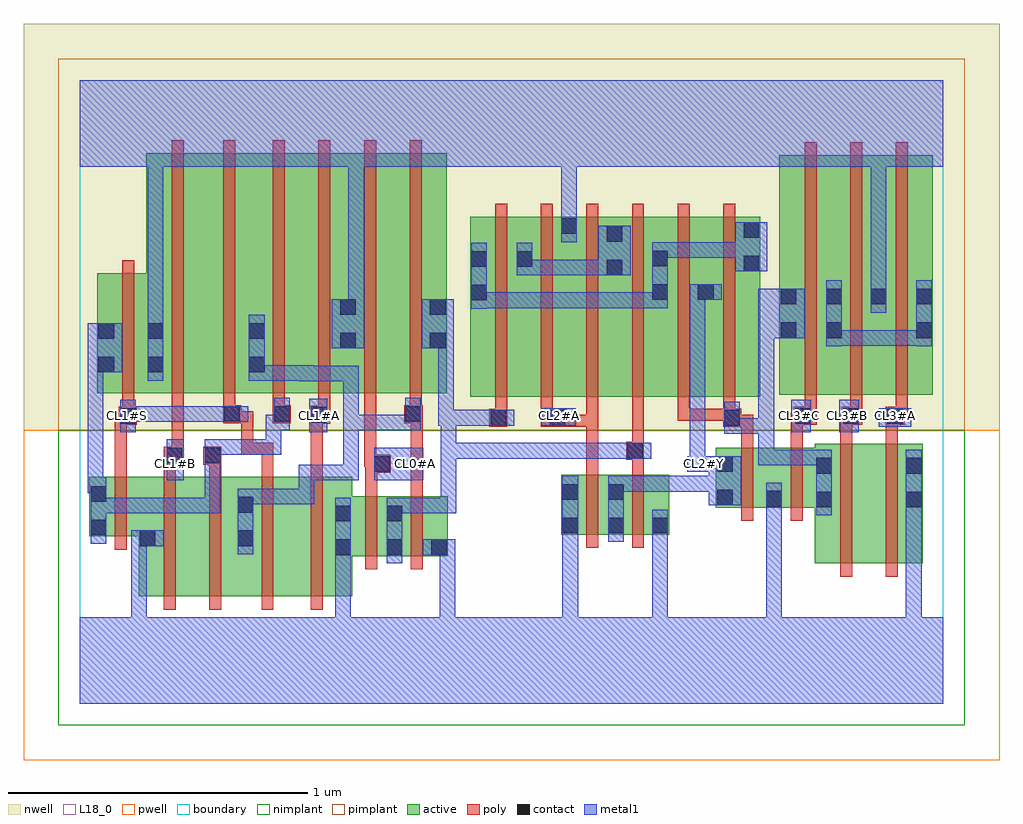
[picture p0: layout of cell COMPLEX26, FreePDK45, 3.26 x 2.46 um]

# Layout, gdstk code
import gdstk
lib = gdstk.Library(unit=1e-6, precision=1e-09)
def R(c, l, rs):  # rectangles x0, y0, x1, y1
    for r in rs: c.add(gdstk.rectangle(r[:2], r[2:], *l))
def A(c, l, x, y, w, h, nx, ny, dx, dy):  # array of equal rectangles
    R(c, l, [(x+i*dx, y+j*dy, x+i*dx+w, y+j*dy+h) for i in range(nx) for j in range(ny)])
active = (1, 0)
pwell = (2, 0)
nwell = (3, 0)
nimplant = (4, 0)
pimplant = (5, 0)
poly = (9, 0)
contact = (10, 0)
metal1 = (11, 0)
L18_0 = (18, 0)
boundary = (235, 0)

complex26 = lib.new_cell('COMPLEX26')
A(complex26, active, 1.602, 1.024, 0.212, 0.6, 4, 1, 0.152, 0)
R(complex26, active, [(0.196,0.358,0.256,0.758), (0.196,0.358,0.376,0.758), (0.376,0.358,0.582,0.758), (0.522,0.358,0.714,0.758), (0.714,0.358,0.908,0.758), (0.848,0.358,0.908,0.664), (0.522,0.468,0.582,0.694), (2.452,0.468,2.632,0.868), (2.452,0.468,2.512,0.854), (2.632,0.468,2.812,0.868), (2.752,0.468,2.812,0.868), (0.848,0.492,1.08,0.692), (1.02,0.492,1.228,0.692), (1.02,0.492,1.08,0.664), (1.168,0.492,1.228,0.692), (0.032,0.558,0.092,0.758), (0.032,0.558,0.256,0.758), (1.606,0.564,1.666,0.764), (1.606,0.564,1.818,0.764), (1.758,0.564,1.818,0.764), (1.758,0.564,1.966,0.764), (1.906,0.564,1.966,0.764), (2.122,0.654,2.182,0.854), (2.122,0.654,2.346,0.854), (2.286,0.654,2.512,0.854), (2.286,0.654,2.346,0.854), (1.302,1.024,1.514,1.624), (1.302,1.024,1.362,1.556), (1.454,1.024,1.662,1.624), (1.906,1.024,1.966,1.556), (2.058,1.024,2.118,1.62), (2.21,1.024,2.27,1.61), (2.334,1.03,2.394,1.724), (2.334,1.03,2.546,1.83), (2.486,1.03,2.546,1.724), (2.486,1.03,2.694,1.83), (2.634,1.03,2.846,1.83), (2.786,1.03,2.846,1.724), (0.058,1.036,0.118,1.356), (0.058,1.036,0.282,1.436), (0.222,1.036,0.402,1.836), (0.222,1.036,0.282,1.356), (0.402,1.036,0.62,1.836), (0.56,1.036,0.62,1.724), (0.56,1.036,0.74,1.836), (0.74,1.036,0.924,1.836), (0.864,1.036,1.044,1.836), (0.864,1.036,0.924,1.756), (1.044,1.036,1.224,1.836), (1.164,1.036,1.224,1.724), (2.634,1.206,2.694,1.756), (1.454,1.406,1.514,1.556), (1.602,1.406,1.662,1.624), (1.754,1.406,1.814,1.624)])
R(complex26, pwell, [(-0.188,-0.188,3.068,0.912)])
R(complex26, nwell, [(-0.188,0.912,3.068,2.268)])
R(complex26, nimplant, [(-0.072,-0.072,2.952,0.912)])
R(complex26, pimplant, [(-0.072,0.912,2.952,2.152)])
A(complex26, poly, 2.418, 0.95, 0.04, 0.076, 3, 1, 0.152, 0)
A(complex26, poly, 1.386, 0.98, 0.04, 0.688, 6, 1, 0.152, 0)
A(complex26, poly, 2.418, 0.986, 0.04, 0.888, 3, 1, 0.152, 0)
A(complex26, poly, 0.644, 0.992, 0.04, 0.888, 4, 1, 0.152, 0)
R(complex26, poly, [(0.28,0.314,0.32,0.802), (0.432,0.314,0.472,0.802), (0.606,0.314,0.646,0.802), (0.77,0.314,0.81,0.802), (2.536,0.424,2.576,0.912), (2.688,0.424,2.728,0.912), (0.952,0.448,0.992,0.736), (1.104,0.448,1.144,0.736), (0.116,0.514,0.156,0.802), (1.69,0.52,1.73,0.808), (1.842,0.52,1.882,0.808), (2.206,0.61,2.246,0.898), (2.372,0.61,2.412,0.898), (0.952,0.696,0.992,0.81), (1.104,0.696,1.144,0.976), (0.116,0.762,0.156,0.97), (0.28,0.762,0.32,0.838), (0.432,0.762,0.472,0.838), (0.606,0.762,0.646,0.87), (0.77,0.762,0.81,0.974), (1.69,0.768,1.73,0.964), (1.842,0.768,1.882,0.854), (0.952,0.77,1.038,0.83), (0.948,0.79,0.988,1.032), (0.948,0.79,0.992,0.83), (0.952,0.79,0.992,0.83), (0.28,0.798,0.346,0.858), (0.412,0.798,0.472,0.858), (1.822,0.814,1.882,0.874), (0.306,0.818,0.346,0.858), (0.306,0.818,0.346,0.858), (0.306,0.818,0.346,1.032), (0.538,0.83,0.578,0.87), (0.538,0.83,0.646,0.87), (0.538,0.83,0.578,0.976), (0.606,0.83,0.646,0.87), (1.842,0.834,1.882,0.874), (1.842,0.834,1.882,0.874), (1.842,0.834,1.882,1.02), (2.206,0.858,2.246,0.964), (2.372,0.858,2.412,0.97), (2.536,0.872,2.576,0.97), (2.688,0.872,2.728,0.97), (1.366,0.924,1.426,0.984), (1.538,0.924,1.624,0.984), (1.584,0.924,1.624,0.964), (1.584,0.924,1.624,0.964), (1.584,0.924,1.73,0.964), (1.69,0.924,1.73,0.964), (1.69,0.924,1.73,0.964), (1.69,0.924,1.73,0.964), (1.69,0.924,1.73,1.02), (2.146,0.924,2.206,0.984), (2.166,0.924,2.206,0.964), (2.166,0.924,2.246,0.964), (0.116,0.93,0.17,0.97), (0.13,0.93,0.17,0.97), (0.13,0.93,0.19,0.99), (2.372,0.93,2.422,0.97), (2.382,0.93,2.422,0.97), (2.382,0.93,2.458,0.99), (2.536,0.93,2.582,0.97), (2.542,0.93,2.582,0.97), (2.542,0.93,2.61,0.99), (2.688,0.93,2.75,0.99), (0.77,0.934,0.81,0.974), (0.77,0.934,0.81,0.974), (0.77,0.934,0.836,0.994), (0.478,0.936,0.538,0.996), (0.498,0.936,0.578,0.976), (0.538,0.936,0.578,0.976), (0.644,0.936,0.704,0.996), (1.082,0.936,1.144,0.996), (1.104,0.936,1.144,0.976), (1.104,0.936,1.144,0.976), (1.386,0.944,1.426,1.02), (1.538,0.944,1.578,1.02), (1.994,0.944,2.034,1.02), (1.994,0.944,2.034,0.984), (1.994,0.944,2.186,0.984), (2.146,0.944,2.186,1.02), (2.146,0.944,2.186,0.984), (2.146,0.944,2.186,0.984), (0.142,0.95,0.182,1.032), (2.71,0.95,2.75,0.99), (2.71,0.95,2.762,0.99), (0.796,0.954,0.836,1.032), (0.478,0.956,0.518,1.032), (0.644,0.956,0.684,1.032), (1.1,0.956,1.14,1.032), (0.142,0.992,0.182,1.48), (0.306,0.992,0.346,1.88), (0.478,0.992,0.518,1.88)])
R(complex26, contact, [(0.852,0.496,0.904,0.548), (1.024,0.496,1.076,0.548), (1.172,0.496,1.224,0.548), (0.2,0.526,0.252,0.578), (0.526,0.526,0.578,0.578), (0.036,0.562,0.088,0.614), (1.61,0.568,1.662,0.62), (1.762,0.568,1.814,0.62), (1.91,0.568,1.962,0.62), (0.852,0.608,0.904,0.66), (1.024,0.608,1.076,0.66), (0.526,0.638,0.578,0.69), (2.456,0.656,2.508,0.708), (2.756,0.656,2.808,0.708), (2.29,0.658,2.342,0.71), (2.126,0.662,2.178,0.714), (0.036,0.674,0.088,0.726), (1.61,0.68,1.662,0.732), (1.762,0.68,1.814,0.732), (2.456,0.768,2.508,0.82), (2.756,0.768,2.808,0.82), (0.982,0.774,1.034,0.826), (2.126,0.774,2.178,0.826), (0.29,0.802,0.342,0.854), (0.416,0.802,0.468,0.854), (1.826,0.818,1.878,0.87), (1.37,0.928,1.422,0.98), (1.568,0.928,1.62,0.98), (2.15,0.928,2.202,0.98), (0.134,0.934,0.186,0.986), (2.386,0.934,2.438,0.986), (2.546,0.934,2.598,0.986), (2.694,0.934,2.746,0.986), (0.774,0.938,0.826,0.99), (0.482,0.94,0.534,0.992), (0.648,0.94,0.7,0.992), (1.086,0.94,1.138,0.992), (0.062,1.106,0.114,1.158), (0.226,1.106,0.278,1.158), (0.564,1.106,0.616,1.158), (0.868,1.186,0.92,1.238), (1.168,1.186,1.22,1.238), (0.062,1.218,0.114,1.27), (0.226,1.218,0.278,1.27), (0.564,1.218,0.616,1.27), (2.338,1.22,2.39,1.272), (2.49,1.22,2.542,1.272), (2.79,1.22,2.842,1.272), (0.868,1.298,0.92,1.35), (1.168,1.298,1.22,1.35), (2.338,1.332,2.39,1.384), (2.49,1.332,2.542,1.384), (2.638,1.332,2.69,1.384), (2.79,1.332,2.842,1.384), (1.306,1.346,1.358,1.398), (1.91,1.348,1.962,1.4), (2.062,1.348,2.114,1.4), (1.758,1.43,1.81,1.482), (2.214,1.442,2.266,1.494), (1.306,1.458,1.358,1.51), (1.458,1.458,1.51,1.51), (1.91,1.46,1.962,1.512), (1.758,1.542,1.81,1.594), (2.214,1.554,2.266,1.606), (1.606,1.568,1.658,1.62)])
R(complex26, metal1, [(0,0,2.88,0.288), (0.172,0.236,0.224,0.578), (0.852,0.236,0.904,0.288), (0.852,0.236,0.904,0.288), (0.852,0.236,0.904,0.52), (1.2,0.236,1.252,0.288), (1.2,0.236,1.252,0.288), (1.2,0.236,1.252,0.288), (1.2,0.236,1.252,0.288), (1.2,0.236,1.252,0.288), (1.2,0.236,1.252,0.288), (1.2,0.236,1.252,0.548), (1.61,0.236,1.662,0.288), (1.61,0.236,1.662,0.288), (1.61,0.236,1.662,0.288), (1.61,0.236,1.662,0.288), (1.61,0.236,1.662,0.592), (1.91,0.236,1.962,0.288), (1.91,0.236,1.962,0.288), (1.91,0.236,1.962,0.288), (1.91,0.236,1.962,0.288), (1.91,0.236,1.962,0.288), (1.91,0.236,1.962,0.288), (1.91,0.236,1.962,0.592), (2.29,0.236,2.342,0.288), (2.29,0.236,2.342,0.288), (2.29,0.236,2.342,0.288), (2.29,0.236,2.342,0.288), (2.29,0.236,2.342,0.682), (2.756,0.236,2.808,0.68), (0.852,0.468,0.904,0.688), (1.024,0.468,1.076,0.688), (1.144,0.496,1.252,0.548), (0.526,0.498,0.578,0.718), (0.172,0.526,0.224,0.578), (0.172,0.526,0.224,0.578), (0.172,0.526,0.28,0.578), (0.036,0.534,0.088,0.754), (1.61,0.54,1.662,0.76), (1.61,0.54,1.662,0.592), (1.61,0.54,1.662,0.592), (1.762,0.54,1.814,0.76), (1.91,0.54,1.962,0.648), (2.456,0.628,2.508,0.848), (2.756,0.628,2.808,0.848), (2.756,0.628,2.808,0.68), (2.756,0.628,2.808,0.68), (2.29,0.63,2.342,0.682), (2.29,0.63,2.342,0.682), (2.29,0.63,2.342,0.738), (0.036,0.636,0.088,0.688), (0.036,0.636,0.088,0.688), (0.036,0.636,0.358,0.688), (0.306,0.636,0.358,0.688), (0.306,0.636,0.358,0.688), (0.306,0.636,0.358,0.688), (0.306,0.636,0.468,0.688), (0.416,0.636,0.468,0.688), (0.416,0.636,0.468,0.826), (1.024,0.636,1.076,0.688), (1.024,0.636,1.076,0.688), (1.024,0.636,1.256,0.688), (1.204,0.636,1.256,0.688), (1.204,0.636,1.256,0.87), (2.098,0.662,2.206,0.826), (0.526,0.666,0.672,0.718), (0.62,0.666,0.672,0.718), (0.62,0.666,0.782,0.718), (0.73,0.666,0.782,0.798), (0.026,0.702,0.078,0.754), (0.026,0.702,0.078,0.754), (0.026,0.702,0.078,1.158), (0.026,0.702,0.088,0.754), (0.036,0.702,0.088,0.754), (1.762,0.708,1.814,0.76), (1.762,0.708,1.814,0.76), (1.762,0.708,1.924,0.76), (1.872,0.708,1.924,0.76), (1.872,0.708,1.924,0.76), (1.872,0.708,1.924,0.76), (1.872,0.708,2.15,0.76), (0.29,0.746,0.346,0.882), (0.73,0.746,0.782,0.798), (0.73,0.746,0.782,0.798), (0.73,0.746,0.924,0.798), (0.872,0.746,0.924,0.798), (0.872,0.746,0.924,0.798), (0.872,0.746,0.93,0.798), (0.878,0.746,0.93,0.964), (0.982,0.746,1.146,0.854), (0.416,0.774,0.468,0.826), (0.416,0.774,0.468,0.826), (0.416,0.774,0.468,0.882), (2.026,0.774,2.15,0.826), (2.034,0.774,2.086,1.4), (2.098,0.774,2.15,0.826), (2.264,0.796,2.316,0.848), (2.264,0.796,2.316,0.848), (2.264,0.796,2.316,0.848), (2.264,0.796,2.508,0.848), (2.264,0.796,2.316,0.952), (2.456,0.796,2.508,0.848), (2.456,0.796,2.508,0.848), (1.204,0.818,1.256,0.87), (1.204,0.818,1.366,0.87), (1.204,0.818,1.256,0.98), (1.314,0.818,1.366,0.87), (1.314,0.818,1.366,0.87), (1.314,0.818,1.366,0.87), (1.314,0.818,1.476,0.87), (1.424,0.818,1.476,0.87), (1.424,0.818,1.476,0.87), (1.424,0.818,1.476,0.87), (1.424,0.818,1.672,0.87), (1.62,0.818,1.672,0.87), (1.62,0.818,1.672,0.87), (1.62,0.818,1.672,0.87), (1.62,0.818,1.782,0.87), (1.73,0.818,1.782,0.87), (1.73,0.818,1.85,0.87), (1.798,0.818,1.906,0.87), (0.416,0.83,0.672,0.882), (0.62,0.83,0.672,0.882), (0.62,0.83,0.672,0.964), (2.15,0.9,2.202,0.952), (2.15,0.9,2.202,0.952), (2.15,0.9,2.202,1.008), (2.15,0.9,2.316,0.952), (2.264,0.9,2.316,0.952), (2.264,0.9,2.316,1.272), (0.134,0.906,0.186,1.014), (0.766,0.906,0.826,1.018), (2.374,0.906,2.438,1.014), (2.534,0.906,2.598,1.014), (0.62,0.912,0.672,0.964), (0.62,0.912,0.7,0.964), (0.648,0.912,0.7,1.02), (0.878,0.912,0.93,0.964), (0.878,0.912,0.966,0.964), (0.878,0.912,0.93,1.128), (0.914,0.912,0.966,0.964), (0.914,0.912,1.04,0.964), (0.988,0.912,1.04,0.964), (0.988,0.912,1.138,0.964), (1.086,0.912,1.138,1.02), (2.666,0.924,2.774,0.986), (1.196,0.928,1.256,0.98), (1.196,0.928,1.248,1.238), (1.204,0.928,1.256,0.98), (1.204,0.928,1.256,0.98), (1.204,0.928,1.394,0.98), (1.342,0.928,1.45,0.98), (1.54,0.928,1.654,0.986), (0.134,0.94,0.296,0.992), (0.244,0.94,0.296,0.992), (0.244,0.94,0.296,0.992), (0.244,0.94,0.296,0.992), (0.244,0.94,0.468,0.992), (0.416,0.94,0.468,0.992), (0.416,0.94,0.506,0.992), (0.454,0.94,0.562,0.992), (0.73,1.076,0.93,1.128), (0.73,1.076,0.782,1.13), (0.878,1.076,0.93,1.128), (0.226,1.078,0.278,1.298), (0.564,1.078,0.616,1.298), (0.564,1.078,0.672,1.13), (0.62,1.078,0.672,1.13), (0.62,1.078,0.782,1.13), (0.73,1.078,0.782,1.13), (0.73,1.078,0.782,1.13), (0.026,1.106,0.142,1.27), (0.84,1.186,0.948,1.35), (1.14,1.186,1.248,1.35), (2.49,1.192,2.542,1.412), (2.79,1.192,2.842,1.412), (2.49,1.194,2.542,1.246), (2.49,1.194,2.542,1.246), (2.49,1.194,2.698,1.246), (2.646,1.194,2.842,1.246), (2.646,1.194,2.698,1.246), (2.646,1.194,2.698,1.246), (2.646,1.194,2.698,1.246), (2.264,1.22,2.418,1.384), (0.226,1.246,0.278,1.844), (0.896,1.298,0.948,1.844), (2.638,1.304,2.69,1.412), (1.306,1.318,1.358,1.538), (1.306,1.32,1.366,1.372), (1.314,1.32,1.51,1.372), (1.314,1.32,1.366,1.372), (1.458,1.32,1.51,1.372), (1.458,1.32,1.51,1.372), (1.458,1.32,1.51,1.372), (1.458,1.32,1.62,1.372), (1.568,1.32,1.62,1.372), (1.568,1.32,1.62,1.372), (1.568,1.32,1.62,1.372), (1.568,1.32,1.782,1.372), (1.73,1.32,1.782,1.372), (1.73,1.32,1.782,1.372), (1.73,1.32,1.782,1.372), (1.73,1.32,1.962,1.372), (1.91,1.32,1.962,1.54), (2.034,1.348,2.086,1.4), (2.034,1.348,2.086,1.4), (2.034,1.348,2.142,1.4), (2.638,1.36,2.69,1.844), (1.458,1.43,1.51,1.482), (1.458,1.43,1.51,1.482), (1.458,1.43,1.51,1.538), (1.458,1.43,1.672,1.482), (1.62,1.43,1.672,1.482), (1.62,1.43,1.672,1.482), (1.62,1.43,1.672,1.482), (1.62,1.43,1.782,1.482), (1.73,1.43,1.838,1.594), (2.186,1.442,2.294,1.606), (1.91,1.488,1.962,1.54), (1.91,1.488,1.962,1.54), (1.91,1.488,1.962,1.54), (1.91,1.488,1.962,1.54), (1.91,1.488,2.092,1.54), (2.04,1.488,2.092,1.54), (2.04,1.488,2.092,1.54), (2.04,1.488,2.092,1.54), (2.04,1.488,2.238,1.54), (1.606,1.54,1.658,1.648), (1.606,1.596,1.658,1.844), (0,1.792,2.88,2.08), (1.606,1.792,1.658,1.844), (1.606,1.792,1.658,1.844), (1.606,1.792,1.658,1.844), (1.606,1.792,1.658,1.844)])
A(complex26, L18_0, 0.774, 0.934, 0.052, 0.052, 3, 1, 0.8, 0)
R(complex26, L18_0, [(0,0,2.88,0.288), (0.172,0.236,0.224,0.578), (0.852,0.236,0.904,0.288), (0.852,0.236,0.904,0.288), (0.852,0.236,0.904,0.52), (1.2,0.236,1.252,0.288), (1.2,0.236,1.252,0.288), (1.2,0.236,1.252,0.288), (1.2,0.236,1.252,0.288), (1.2,0.236,1.252,0.288), (1.2,0.236,1.252,0.288), (1.2,0.236,1.252,0.548), (1.61,0.236,1.662,0.288), (1.61,0.236,1.662,0.288), (1.61,0.236,1.662,0.288), (1.61,0.236,1.662,0.288), (1.61,0.236,1.662,0.592), (1.91,0.236,1.962,0.288), (1.91,0.236,1.962,0.288), (1.91,0.236,1.962,0.288), (1.91,0.236,1.962,0.288), (1.91,0.236,1.962,0.288), (1.91,0.236,1.962,0.288), (1.91,0.236,1.962,0.592), (2.29,0.236,2.342,0.288), (2.29,0.236,2.342,0.288), (2.29,0.236,2.342,0.288), (2.29,0.236,2.342,0.288), (2.29,0.236,2.342,0.682), (2.756,0.236,2.808,0.68), (0.852,0.468,0.904,0.688), (1.144,0.496,1.252,0.548), (0.172,0.526,0.224,0.578), (0.172,0.526,0.224,0.578), (0.172,0.526,0.28,0.578), (1.61,0.54,1.662,0.592), (1.61,0.54,1.662,0.592), (1.61,0.54,1.662,0.76), (1.762,0.54,1.814,0.76), (1.91,0.54,1.962,0.648), (2.756,0.628,2.808,0.68), (2.756,0.628,2.808,0.68), (2.756,0.628,2.808,0.848), (2.29,0.63,2.342,0.738), (2.29,0.63,2.342,0.682), (2.29,0.63,2.342,0.682), (2.098,0.662,2.206,0.826), (1.762,0.708,1.814,0.76), (1.762,0.708,1.814,0.76), (1.762,0.708,1.924,0.76), (1.872,0.708,1.924,0.76), (1.872,0.708,1.924,0.76), (1.872,0.708,1.924,0.76), (1.872,0.708,2.15,0.76), (0.29,0.746,0.346,0.882), (0.982,0.746,1.146,0.854), (0.294,0.774,0.346,0.826), (1.094,0.774,1.146,0.826), (2.026,0.774,2.15,0.826), (2.034,0.774,2.086,1.4), (2.054,0.774,2.106,0.826), (2.098,0.774,2.15,0.826), (0.134,0.906,0.186,1.014), (0.766,0.906,0.826,1.018), (2.374,0.906,2.438,1.014), (2.534,0.906,2.598,1.014), (2.666,0.924,2.774,0.986), (1.54,0.928,1.654,0.986), (0.134,0.934,0.186,0.986), (2.534,0.934,2.586,0.986), (2.694,0.934,2.746,0.986), (0.134,0.94,0.296,0.992), (0.244,0.94,0.296,0.992), (0.244,0.94,0.296,0.992), (0.244,0.94,0.296,0.992), (0.244,0.94,0.468,0.992), (0.416,0.94,0.468,0.992), (0.416,0.94,0.506,0.992), (0.454,0.94,0.562,0.992), (0.226,1.078,0.278,1.298), (0.84,1.186,0.948,1.35), (0.226,1.246,0.278,1.844), (0.896,1.298,0.948,1.844), (2.638,1.304,2.69,1.412), (2.034,1.348,2.086,1.4), (2.034,1.348,2.086,1.4), (2.034,1.348,2.142,1.4), (2.638,1.36,2.69,1.844), (1.606,1.54,1.658,1.648), (1.606,1.596,1.658,1.844), (0,1.792,2.88,2.08), (1.606,1.792,1.658,1.844), (1.606,1.792,1.658,1.844), (1.606,1.792,1.658,1.844), (1.606,1.792,1.658,1.844)])
R(complex26, boundary, [(0,0,2.88,2.08)])
complex26.add(gdstk.Label('CL0#A', (1.12,0.8), layer=11, texttype=0))
complex26.add(gdstk.Label('CL1#A', (0.8,0.96), layer=11, texttype=0))
complex26.add(gdstk.Label('CL1#B', (0.32,0.8), layer=11, texttype=0))
complex26.add(gdstk.Label('CL1#S', (0.16,0.96), layer=11, texttype=0))
complex26.add(gdstk.Label('CL2#A', (1.6,0.96), layer=11, texttype=0))
complex26.add(gdstk.Label('CL2#Y', (2.08,0.8), layer=11, texttype=0))
complex26.add(gdstk.Label('CL3#A', (2.72,0.96), layer=11, texttype=0))
complex26.add(gdstk.Label('CL3#B', (2.56,0.96), layer=11, texttype=0))
complex26.add(gdstk.Label('CL3#C', (2.4,0.96), layer=11, texttype=0))

lib.write_gds('COMPLEX26.gds')
